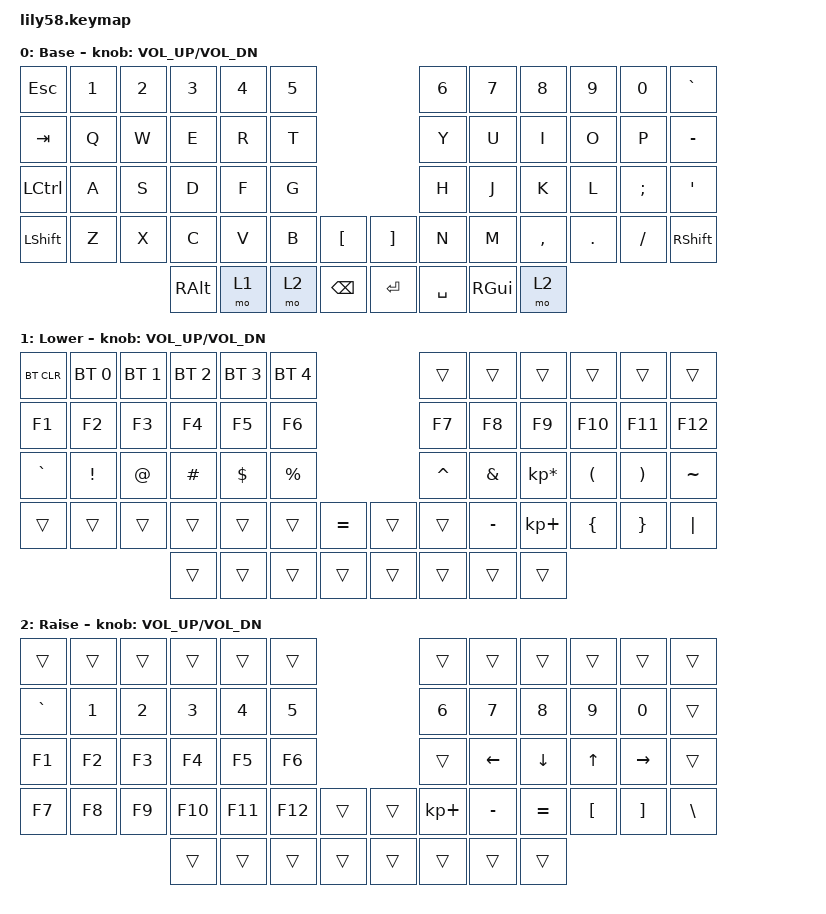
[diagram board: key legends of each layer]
/*
 * Copyright (c) 2020 The ZMK Contributors
 *
 * SPDX-License-Identifier: MIT
 */

#include <behaviors.dtsi>
#include <dt-bindings/zmk/bt.h>
#include <dt-bindings/zmk/keys.h>

/ {
    macros {
        aumlaut: aumlaut {
            compatible = "zmk,behavior-macro";
            #binding-cells = <0>;
            bindings = <&kp LA(KP_NUMBER_0) &kp LA(KP_NUMBER_2) &kp LA(KP_NUMBER_2) &kp LA(KP_NUMBER_8)>;
            label = "AUMLAUT";
        };
    };

    keymap {
        compatible = "zmk,keymap";

        default_layer {
            display-name = "Base";
            bindings = <
&kp ESC    &kp N1  &kp N2  &kp N3         &kp N4  &kp N5                              &kp N6     &kp N7    &kp N8     &kp N9      &kp N0         &kp GRAVE
&kp TAB    &kp Q   &kp W   &kp E          &kp R   &kp T                               &kp Y      &kp U     &kp I      &kp O       &kp P          &kp MINUS
&kp LCTRL  &kp A   &kp S   &kp D          &kp F   &kp G                               &kp H      &kp J     &kp K      &kp L       &kp SEMICOLON  &kp SQT
&kp LSHFT  &kp Z   &kp X   &kp C          &kp V   &kp B   &kp LBKT         &kp RBKT   &kp N      &kp M     &kp COMMA  &kp PERIOD  &kp SLASH      &kp RSHFT
                           &kp RIGHT_ALT  &mo 1   &mo 2   &kp BACKSPACE    &kp ENTER  &kp SPACE  &kp RGUI  &mo 2
            >;

            sensor-bindings = <&inc_dec_kp C_VOL_UP C_VOL_DN>;
        };

        lower_layer {
            display-name = "Lower";
            // ------------------------------------------------------------------------------------------------------------
            // | BTCLR | BT1 | BT2 |  BT3 |  BT4 |  BT5 |                   |      |       |       |      |       |       |
            // |  F1   |  F2 |  F3 |  F4  |  F5  |  F6  |                   |  F7  |  F8   |  F9   |  F10 |  F11  |  F12  |
            // |   `   |  !  |  @  |  #   |  $   |  %   |                   |  ^   |  &    |  *    |  (   |   )   |   ~   |
            // |       |     |     |      |      |      |        |  |       |      |  _    |  +    |  {   |   }   |  "|"  |
            //                     |      |      |      |        |  |       |      |       |       |
            bindings = <
&bt BT_CLR  &bt BT_SEL 0  &bt BT_SEL 1  &bt BT_SEL 2  &bt BT_SEL 3  &bt BT_SEL 4                       &trans     &trans     &trans           &trans    &trans    &trans
&kp F1      &kp F2        &kp F3        &kp F4        &kp F5        &kp F6                             &kp F7     &kp F8     &kp F9           &kp F10   &kp F11   &kp F12
&kp GRAVE   &kp EXCL      &kp AT        &kp HASH      &kp DOLLAR    &kp PRCNT                          &kp CARET  &kp AMPS   &kp KP_MULTIPLY  &kp LPAR  &kp RPAR  &kp TILDE
&trans      &trans        &trans        &trans        &trans        &trans        &kp EQUAL    &trans  &trans     &kp MINUS  &kp KP_PLUS      &kp LBRC  &kp RBRC  &kp PIPE
                                        &trans        &trans        &trans        &trans       &trans  &trans     &trans     &trans
            >;

            sensor-bindings = <&inc_dec_kp C_VOL_UP C_VOL_DN>;
        };

        raise_layer {
            display-name = "Raise";
            bindings = <
&trans     &trans  &trans  &trans   &trans   &trans                     &trans       &trans     &trans     &trans    &trans     &trans
&kp GRAVE  &kp N1  &kp N2  &kp N3   &kp N4   &kp N5                     &kp N6       &kp N7     &kp N8     &kp N9    &kp N0     &trans
&kp F1     &kp F2  &kp F3  &kp F4   &kp F5   &kp F6                     &trans       &kp LEFT   &kp DOWN   &kp UP    &kp RIGHT  &trans
&kp F7     &kp F8  &kp F9  &kp F10  &kp F11  &kp F12  &trans    &trans  &kp KP_PLUS  &kp MINUS  &kp EQUAL  &kp LBKT  &kp RBKT   &kp BSLH
                           &trans   &trans   &trans   &trans    &trans  &trans       &trans     &trans
            >;

            sensor-bindings = <&inc_dec_kp C_VOL_UP C_VOL_DN>;
        };

        extra_1 {
            status = "reserved";
        };

        extra_2 {
            status = "reserved";
        };

        extra_3 {
            status = "reserved";
        };
    };
};
